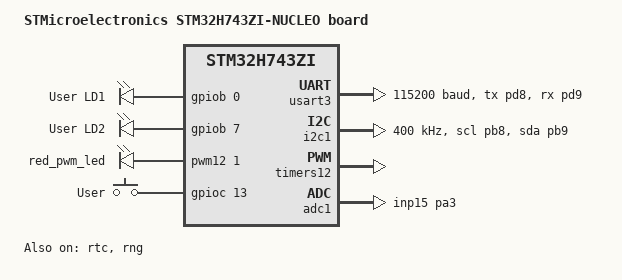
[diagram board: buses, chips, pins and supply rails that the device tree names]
/*
 * Copyright (c) 2020 Teslabs Engineering S.L.
 *
 * SPDX-License-Identifier: Apache-2.0
 */

/dts-v1/;
#include <st/h7/stm32h743Xi.dtsi>
#include <st/h7/stm32h743zitx-pinctrl.dtsi>
#include "arduino_r3_connector.dtsi"

/ {
	model = "STMicroelectronics STM32H743ZI-NUCLEO board";
	compatible = "st,stm32h743zi-nucleo";

	chosen {
		zephyr,console = &usart3;
		zephyr,shell-uart = &usart3;
		zephyr,sram = &sram0;
		zephyr,flash = &flash0;
		zephyr,dtcm = &dtcm;
	};

	leds {
		compatible = "gpio-leds";
		green_led: led_0 {
			gpios = <&gpiob 0 GPIO_ACTIVE_HIGH>;
			label = "User LD1";
		};
		blue_led: led_1 {
			gpios = <&gpiob 7 GPIO_ACTIVE_HIGH>;
			label = "User LD2";
		};
	};

	pwmleds {
		compatible = "pwm-leds";

		red_pwm_led: red_pwm_led {
			pwms = <&pwm12 1 4 PWM_POLARITY_NORMAL>;
		};
	};

	gpio_keys {
		compatible = "gpio-keys";
		user_button: button_0 {
			label = "User";
			gpios = <&gpioc 13 GPIO_ACTIVE_HIGH>;
		};
	};

	aliases {
		led0 = &green_led;
		led1 = &blue_led;
		pwm-led0 = &red_pwm_led;
		sw0 = &user_button;
	};
};

&usart3 {
	pinctrl-0 = <&usart3_tx_pd8 &usart3_rx_pd9>;
	current-speed = <115200>;
	status = "okay";
};

&rtc {
	status = "okay";
};

&i2c1 {
	pinctrl-0 = <&i2c1_scl_pb8 &i2c1_sda_pb9>;
	status = "okay";
	clock-frequency = <I2C_BITRATE_FAST>;
};

&timers12 {
	status = "okay";

	pwm12: pwm {
		status = "okay";
		pinctrl-0 = <&tim12_ch1_pwm_pb14>;
	};
};

&adc1 {
	pinctrl-0 = <&adc1_inp15_pa3>;
	status = "okay";
};

&rng {
	status = "okay";
};

&flash0 {
	partitions {
		compatible = "fixed-partitions";
		#address-cells = <1>;
		#size-cells = <1>;

		/*
		 * The sectors 0 (128 kbytes) are reserved for
		 * the bootloader.
		 */
		boot_partition: partition@0 {
			label = "mcuboot";
			reg = <0x0 0x00020000>;
			read-only;
		};

		slot0_partition: partition@40000 {
			label = "image-0";
			reg = <0x00040000 0x00040000>;
		};

		slot1_partition: partition@80000 {
			label = "image-1";
			reg = <0x00800000 0x00040000>;
		};

		scratch_partition: partition@c0000 {
			label = "image-scratch";
			reg = <0x000C0000 0x00040000>;
		};
	};
};
